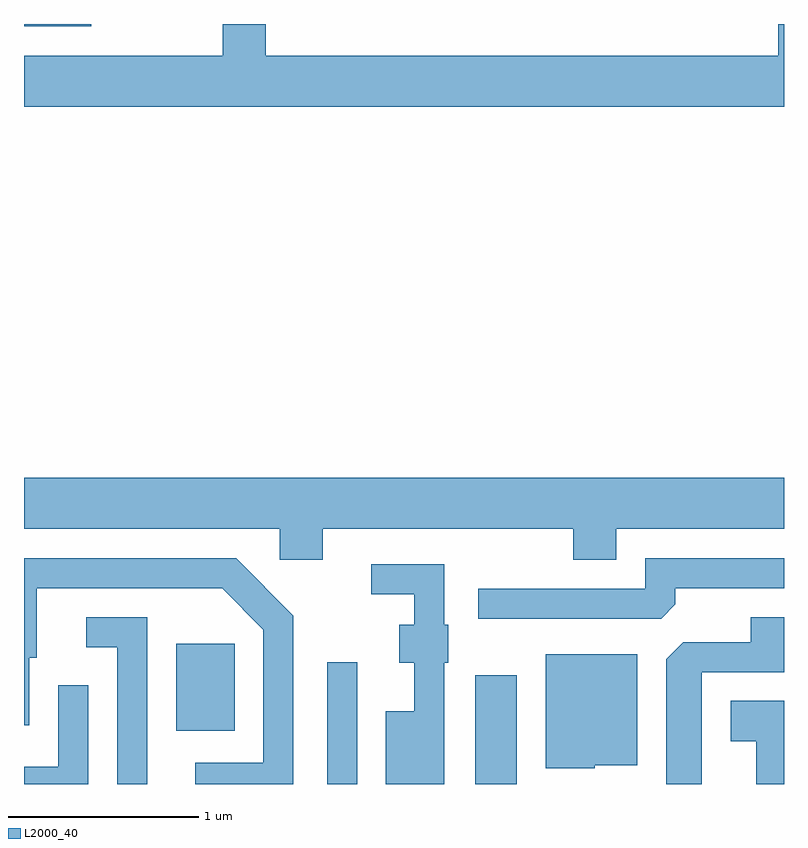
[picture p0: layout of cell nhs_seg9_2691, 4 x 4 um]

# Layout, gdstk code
import gdstk
lib = gdstk.Library(unit=1e-6, precision=1e-09)
def R(c, l, rs):  # rectangles x0, y0, x1, y1
    for r in rs: c.add(gdstk.rectangle(r[:2], r[2:], *l))
def P(c, l, *ps):  # polygons
    for p in ps: c.add(gdstk.Polygon(p, *l))
L2000_40 = (2000, 40)

nhs_seg9_2691 = lib.new_cell('nhs_seg9_2691')
R(nhs_seg9_2691, L2000_40, [(265.206,2030.432,265.364,2031.073), (265.986,2030.432,266.204,2031.004), (264.411,2030.711,264.719,2031.169), (263.611,2034.421,263.964,2034.432)])
P(nhs_seg9_2691, L2000_40, [(267.611,2034.432),(267.581,2034.432),(267.581,2034.264),(264.884,2034.264),(264.884,2034.432),(264.656,2034.432),(264.656,2034.264),(263.611,2034.264),(263.611,2033.996),(267.611,2033.996)],
  [(265.184,2031.776),(266.501,2031.776),(266.501,2031.611),(266.729,2031.611),(266.729,2031.776),(267.611,2031.776),(267.611,2032.044),(263.611,2032.044),(263.611,2031.776),(264.956,2031.776),(264.956,2031.611),(265.184,2031.611)],
  [(265.029,2031.317),(264.727,2031.619),(263.611,2031.619),(263.611,2030.741),(263.639,2030.741),(263.639,2031.096),(263.679,2031.096),(263.679,2031.461),(264.654,2031.461),(264.871,2031.244),(264.871,2030.544),(264.513,2030.544),(264.513,2030.432),(265.029,2030.432)],
  [(267.039,2031.377),(267.039,2031.461),(267.611,2031.461),(267.611,2031.619),(266.881,2031.619),(266.881,2031.459),(266.003,2031.459),(266.003,2031.301),(266.964,2031.301)],
  [(265.824,2031.071),(265.844,2031.071),(265.844,2031.269),(265.824,2031.269),(265.824,2031.589),(265.438,2031.589),(265.438,2031.431),(265.666,2031.431),(265.666,2031.269),(265.586,2031.269),(265.586,2031.071),(265.666,2031.071),(265.666,2030.814),(265.516,2030.814),(265.516,2030.432),(265.824,2030.432)],
  [(267.179,2031.021),(267.611,2031.021),(267.611,2031.309),(267.436,2031.309),(267.436,2031.179),(267.082,2031.179),(266.991,2031.089),(266.991,2030.432),(267.179,2030.432)],
  [(264.259,2031.309),(263.938,2031.309),(263.938,2031.151),(264.101,2031.151),(264.101,2030.432),(264.259,2030.432)],
  [(266.615,2030.531),(266.839,2030.531),(266.839,2031.114),(266.356,2031.114),(266.356,2030.516),(266.615,2030.516)],
  [(263.949,2030.953),(263.791,2030.953),(263.791,2030.524),(263.611,2030.524),(263.611,2030.432),(263.949,2030.432)],
  [(267.611,2030.869),(267.331,2030.869),(267.331,2030.656),(267.466,2030.656),(267.466,2030.432),(267.611,2030.432)])

lib.write_gds('nhs_seg9_2691.gds')
